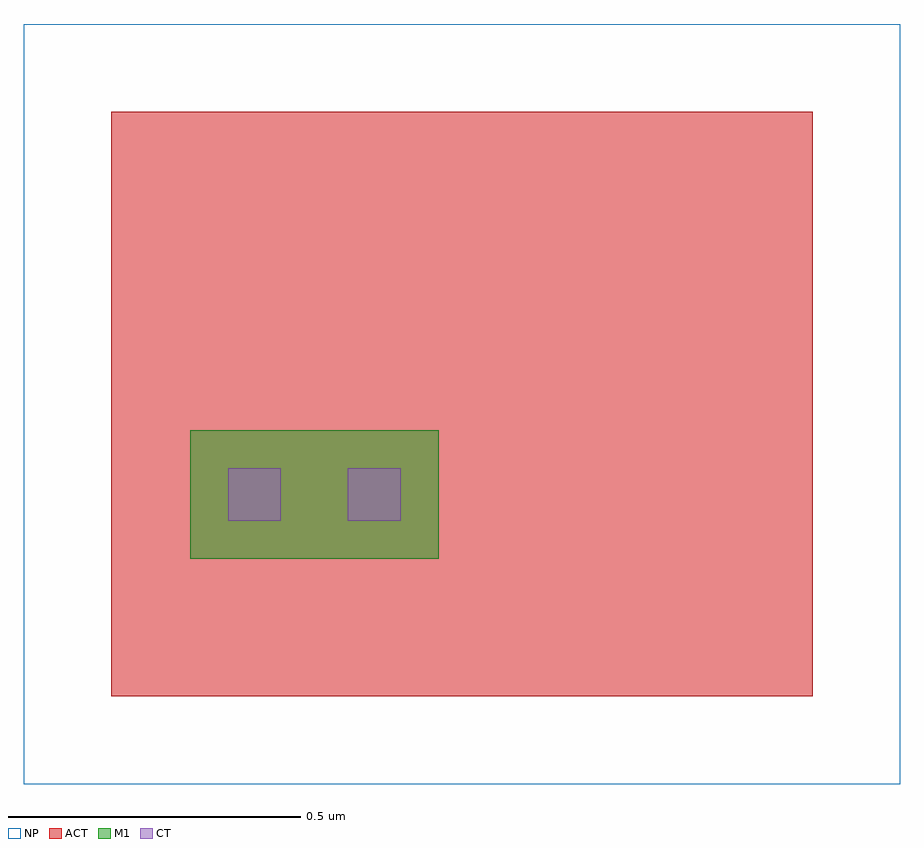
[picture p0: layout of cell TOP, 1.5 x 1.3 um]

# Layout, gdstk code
import gdstk
lib = gdstk.Library(unit=1e-6, precision=1e-09)
def R(c, l, rs):  # rectangles x0, y0, x1, y1
    for r in rs: c.add(gdstk.rectangle(r[:2], r[2:], *l))
ACT = (2, 1)
NP = (52, 1)
CT = (72, 1)
M1 = (81, 1)

top = lib.new_cell('TOP')
R(top, ACT, [(0,0,1.2,1)])
R(top, NP, [(-0.15,-0.15,1.35,1.15)])
R(top, CT, [(0.2,0.3,0.29,0.39), (0.405,0.3,0.495,0.39)])
R(top, M1, [(0.135,0.235,0.355,0.455), (0.34,0.235,0.56,0.455)])

lib.write_gds('TOP.gds')
